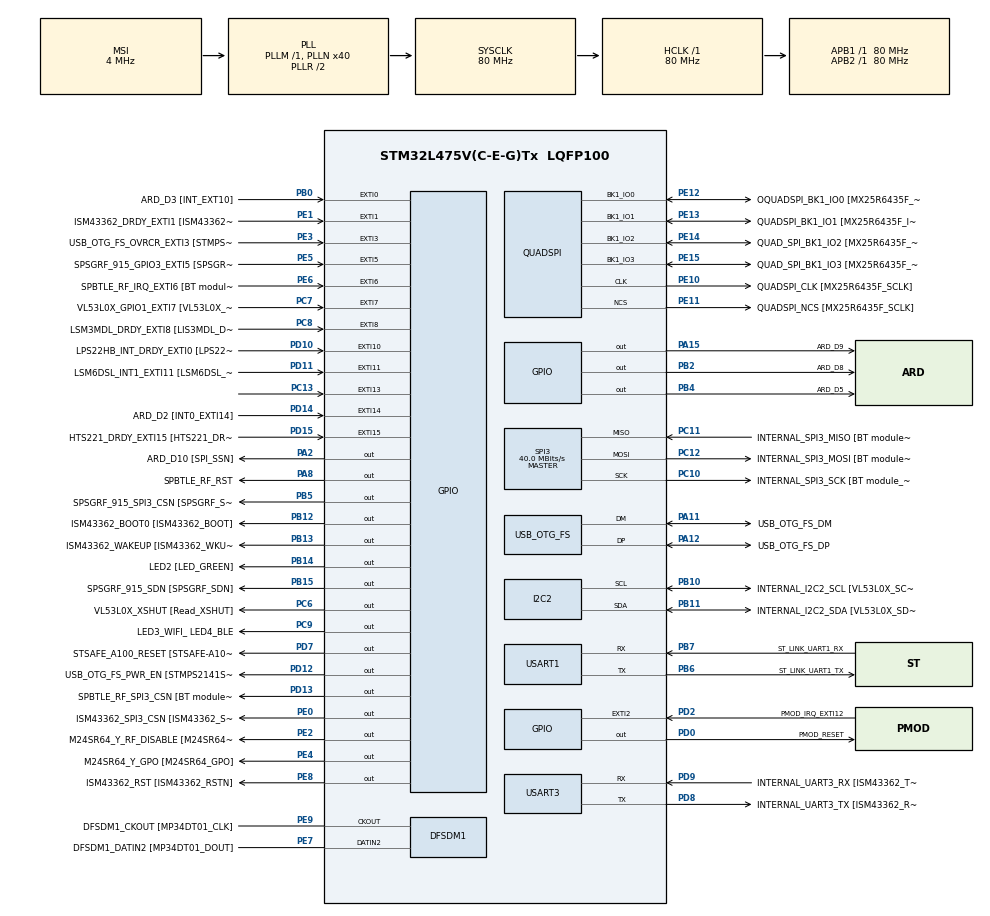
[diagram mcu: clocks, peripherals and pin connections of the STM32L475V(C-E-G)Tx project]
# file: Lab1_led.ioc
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FREERTOS.Tasks01=defaultTask,24,128,StartDefaultTask,Default,NULL,Dynamic,NULL,NULL
Mcu.Family=STM32L4
Mcu.Name=STM32L475V(C-E-G)Tx
Mcu.Package=LQFP100
NVIC.EXTI15_10_IRQn=true\:5\:0\:false\:false\:true\:true\:true\:true\:true
NVIC.EXTI9_5_IRQn=true\:5\:0\:false\:false\:true\:true\:true\:true\:true
NVIC.PriorityGroup=NVIC_PRIORITYGROUP_4
PA0.GPIO_Label=ARD_D1 [UART4_TX]
PA0.Signal=UART4_TX
PA1.GPIO_Label=ARD_D0 [UART4_RX]
PA1.Signal=UART4_RX
PA10.GPIO_Label=USB_OTG_FS_ID
PA10.Signal=USB_OTG_FS_ID
PA11.GPIO_Label=USB_OTG_FS_DM
PA11.Mode=Device_Only
PA11.Signal=USB_OTG_FS_DM
PA12.GPIO_Label=USB_OTG_FS_DP
PA12.Mode=Device_Only
PA12.Signal=USB_OTG_FS_DP
PA13\ (JTMS-SWDIO).GPIO_Label=SYS_JTMS_SWDIO
PA13\ (JTMS-SWDIO).Mode=Serial_Wire
PA13\ (JTMS-SWDIO).Signal=SYS_JTMS-SWDIO
PA14\ (JTCK-SWCLK).GPIO_Label=SYS_JTCK_SWCLK
PA14\ (JTCK-SWCLK).Mode=Serial_Wire
PA14\ (JTCK-SWCLK).Signal=SYS_JTCK-SWCLK
PA15\ (JTDI).GPIO_Label=ARD_D9
PA15\ (JTDI).Signal=GPIO_Output
PA2.GPIO_Label=ARD_D10 [SPI_SSN]
PA2.Signal=GPIO_Output
PA3.GPIO_Label=ARD_D4
PA3.Signal=S_TIM2_CH4
PA4.GPIO_Label=ARD_D7
PA4.Signal=ADCx_IN9
PA5.GPIO_Label=ARD_D13 [SPI1_SCK]
PA5.Signal=SPI1_SCK
PA6.GPIO_Label=ARD_D12 [SPI1_MISO]
PA6.Signal=SPI1_MISO
PA7.GPIO_Label=ARD_D11 [SPI1_MOSI]
PA7.Signal=SPI1_MOSI
PA8.GPIO_Label=SPBTLE_RF_RST
PA8.Signal=GPIO_Output
PA9.GPIO_Label=USB_OTG_FS_VBUS [STMPS2141STR_OUT]
PA9.Signal=USB_OTG_FS_VBUS
PB0.GPIO_Label=ARD_D3 [INT_EXT10]
PB0.Signal=GPXTI0
PB1.GPIO_Label=ARD_D6 [ADC1_IN6]
PB1.Signal=ADCx_IN16
PB10.GPIO_Label=INTERNAL_I2C2_SCL [VL53L0X_SCL]
PB10.GPIO_Pu=GPIO_PULLUP
PB10.Mode=I2C
PB10.Signal=I2C2_SCL
PB11.GPIO_Label=INTERNAL_I2C2_SDA [VL53L0X_SDA]
PB11.GPIO_Pu=GPIO_PULLUP
PB11.Mode=I2C
PB11.Signal=I2C2_SDA
PB12.GPIO_Label=ISM43362_BOOT0 [ISM43362_BOOT]
PB12.Signal=GPIO_Output
PB13.GPIO_Label=ISM43362_WAKEUP [ISM43362_WKUP]
PB13.Signal=GPIO_Output
PB14.GPIO_Label=LED2 [LED_GREEN]
PB14.Signal=GPIO_Output
PB15.GPIO_Label=SPSGRF_915_SDN [SPSGRF_SDN]
PB15.Signal=GPIO_Output
PB2.GPIO_Label=ARD_D8
PB2.Signal=GPIO_Output
PB3\ (JTDO-TRACESWO).GPIO_Label=SYS_JTD0_SWO
PB3\ (JTDO-TRACESWO).Signal=SYS_JTDO-SWO
PB4\ (NJTRST).GPIO_Label=ARD_D5
PB4\ (NJTRST).Signal=GPIO_Output
PB5.GPIO_Label=SPSGRF_915_SPI3_CSN [SPSGRF_SPI_CS]
PB5.PinState=GPIO_PIN_SET
PB5.Signal=GPIO_Output
PB6.GPIO_Label=ST_LINK_UART1_TX
PB6.Mode=Asynchronous
PB6.Signal=USART1_TX
PB7.GPIO_Label=ST_LINK_UART1_RX
PB7.Mode=Asynchronous
PB7.Signal=USART1_RX
PB8.GPIO_Label=ARD_D15 [I2C1_SCL]
PB8.Signal=I2C1_SCL
PB9.GPIO_Label=ARD_D14 [I2C1_SDA]
PB9.Signal=I2C1_SDA
PC0.GPIO_Label=ARD_A5 [ADC]
PC0.Signal=ADCx_IN1
PC1.GPIO_Label=ARD_A4 [ADC]
PC1.Signal=ADCx_IN2
PC10.GPIO_Label=INTERNAL_SPI3_SCK [BT module_SPI_SCLK] [ISM43362_SCK]
PC10.Mode=Full_Duplex_Master
PC10.Signal=SPI3_SCK
PC11.GPIO_Label=INTERNAL_SPI3_MISO [BT module_SPI_MISO] [ISM43362_MISO]
PC11.Mode=Full_Duplex_Master
PC11.Signal=SPI3_MISO
PC12.GPIO_Label=INTERNAL_SPI3_MOSI [BT module_SPI_MOSI] [ISM43362_MOSI]
PC12.Mode=Full_Duplex_Master
PC12.Signal=SPI3_MOSI
PC13.GPIO_ModeDefaultEXTI=GPIO_MODE_IT_FALLING
PC13.Signal=GPXTI13
PC14-OSC32_IN\ (PC14).Mode=LSE-External-Oscillator
PC14-OSC32_IN\ (PC14).Signal=RCC_OSC32_IN
PC15-OSC32_OUT\ (PC15).Mode=LSE-External-Oscillator
PC15-OSC32_OUT\ (PC15).Signal=RCC_OSC32_OUT
PC2.GPIO_Label=ARD_A3 [ADC]
PC2.Signal=ADCx_IN3
PC3.GPIO_Label=ARD_A2 [ADC]
PC3.Signal=ADCx_IN4
PC4.GPIO_Label=ARD_A1 [ADC]
PC4.Signal=ADCx_IN13
PC5.GPIO_Label=ARD_A0 [ADC]
PC5.Signal=ADCx_IN14
PC6.GPIO_Label=VL53L0X_XSHUT [Read_XSHUT]
PC6.Signal=GPIO_Output
PC7.GPIO_Label=VL53L0X_GPIO1_EXTI7 [VL53L0X_GPIO1]
PC7.Signal=GPXTI7
PC8.GPIO_Label=LSM3MDL_DRDY_EXTI8 [LIS3MDL_DRDY]
PC8.Signal=GPXTI8
PC9.GPIO_Label=LED3_WIFI_ LED4_BLE
PC9.Signal=GPIO_Output
PD0.GPIO_Label=PMOD_RESET
PD0.Signal=GPIO_Output
PD1.GPIO_Label=PMOD_SPI2_SCK
PD1.Signal=SPI2_SCK
PD10.GPIO_Label=LPS22HB_INT_DRDY_EXTI0 [LPS22HB_INT_DRDY] 
PD10.Signal=GPXTI10
PD11.GPIO_Label=LSM6DSL_INT1_EXTI11 [LSM6DSL_INT1]
PD11.Signal=GPXTI11
PD12.GPIO_Label=USB_OTG_FS_PWR_EN [STMPS2141STR_EN]
PD12.Signal=GPIO_Output
PD13.GPIO_Label=SPBTLE_RF_SPI3_CSN [BT module_SPI_CS]
PD13.PinState=GPIO_PIN_SET
PD13.Signal=GPIO_Output
PD14.GPIO_Label=ARD_D2 [INT0_EXTI14]
PD14.Signal=GPXTI14
PD15.GPIO_Label=HTS221_DRDY_EXTI15 [HTS221_DRDY]
PD15.Signal=GPXTI15
PD2.GPIO_Label=PMOD_IRQ_EXTI12
PD2.Signal=GPXTI2
PD3.GPIO_Label=PMOD_UART2_CTS
PD3.Signal=USART2_CTS
PD4.GPIO_Label=PMOD_UART2_RTS
PD4.Signal=USART2_RTS
PD5.GPIO_Label=PMOD_UART2_TX
PD5.Signal=USART2_TX
PD6.GPIO_Label=PMOD_UART2_RX
PD6.Signal=USART2_RX
PD7.GPIO_Label=STSAFE_A100_RESET [STSAFE-A100_RESET]
PD7.Signal=GPIO_Output
PD8.GPIO_Label=INTERNAL_UART3_TX [ISM43362_RX]
PD8.Mode=Asynchronous
PD8.Signal=USART3_TX
PD9.GPIO_Label=INTERNAL_UART3_RX [ISM43362_TX]
PD9.Mode=Asynchronous
PD9.Signal=USART3_RX
PE0.GPIO_Label=ISM43362_SPI3_CSN [ISM43362_SSN]
PE0.PinState=GPIO_PIN_SET
PE0.Signal=GPIO_Output
PE1.GPIO_Label=ISM43362_DRDY_EXTI1 [ISM43362_DATARDY]
PE1.Signal=GPXTI1
PE10.GPIO_Label=QUADSPI_CLK [MX25R6435F_SCLK]
PE10.Mode=Single Bank
PE10.Signal=QUADSPI_CLK
PE11.GPIO_Label=QUADSPI_NCS [MX25R6435F_SCLK]
PE11.Mode=Single Bank
PE11.Signal=QUADSPI_NCS
PE12.GPIO_Label=OQUADSPI_BK1_IO0 [MX25R6435F_IO0]
PE12.Mode=Single Bank
PE12.Signal=QUADSPI_BK1_IO0
PE13.GPIO_Label=QUADSPI_BK1_IO1 [MX25R6435F_IO1]
PE13.Mode=Single Bank
PE13.Signal=QUADSPI_BK1_IO1
PE14.GPIO_Label=QUAD_SPI_BK1_IO2 [MX25R6435F_IO2]
PE14.Mode=Single Bank
PE14.Signal=QUADSPI_BK1_IO2
PE15.GPIO_Label=QUAD_SPI_BK1_IO3 [MX25R6435F_IO3]
PE15.Mode=Single Bank
PE15.Signal=QUADSPI_BK1_IO3
PE2.GPIO_Label=M24SR64_Y_RF_DISABLE [M24SR64_RFDIS]
PE2.Signal=GPIO_Output
PE3.GPIO_Label=USB_OTG_FS_OVRCR_EXTI3 [STMPS2141STR_FAULT]
PE3.Signal=GPXTI3
PE4.GPIO_Label=M24SR64_Y_GPO [M24SR64_GPO]
PE4.Signal=GPIO_Output
PE5.GPIO_Label=SPSGRF_915_GPIO3_EXTI5 [SPSGRF_GPIO_3]
PE5.Signal=GPXTI5
PE6.GPIO_Label=SPBTLE_RF_IRQ_EXTI6 [BT module_SPI_IRQ]
PE6.Signal=GPXTI6
PE7.GPIO_Label=DFSDM1_DATIN2 [MP34DT01_DOUT]
PE7.Signal=S_DATAIN2DFSDM1
PE8.GPIO_Label=ISM43362_RST [ISM43362_RSTN]
PE8.Signal=GPIO_Output
PE9.GPIO_Label=DFSDM1_CKOUT [MP34DT01_CLK]
PE9.Signal=S_CKOUTDFSDM1
ProjectManager.HeapSize=0x200
ProjectManager.StackSize=0x400
ProjectManager.TargetToolchain=STM32CubeIDE
QUADSPI.ClockPrescaler=2
QUADSPI.FifoThreshold=4
QUADSPI.FlashSize=23
QUADSPI.SampleShifting=QSPI_SAMPLE_SHIFTING_HALFCYCLE
RCC.ADCFreq_Value=48000000
RCC.AHBFreq_Value=80000000
RCC.APB1Freq_Value=80000000
RCC.APB1TimFreq_Value=80000000
RCC.APB2Freq_Value=80000000
RCC.APB2TimFreq_Value=80000000
RCC.CortexFreq_Value=80000000
RCC.HCLKFreq_Value=80000000
RCC.HSE_VALUE=8000000
RCC.HSI_VALUE=16000000
RCC.MSI_VALUE=4000000
RCC.PLLN=40
RCC.PLLSAI1N=24
RCC.SYSCLKFreq_VALUE=80000000
RCC.SYSCLKSource=RCC_SYSCLKSOURCE_PLLCLK
RCC.USBFreq_Value=48000000
RCC.VCOOutputFreq_Value=160000000
SH.ADCx_IN1.0=ADC1_IN1
SH.ADCx_IN13.0=ADC1_IN13
SH.ADCx_IN14.0=ADC1_IN14
SH.ADCx_IN16.0=ADC1_IN16
SH.ADCx_IN2.0=ADC1_IN2
SH.ADCx_IN3.0=ADC1_IN3
SH.ADCx_IN4.0=ADC1_IN4
SH.ADCx_IN9.0=ADC1_IN9
SH.S_CKOUTDFSDM1.0=DFSDM1_CKOUT,CKOUT
SH.S_CKOUTDFSDM1.1=DFSDM1_CKOUT,PDM_SPI_Input_from_ch12_and_Internal_Clock
SH.S_DATAIN2DFSDM1.0=DFSDM1_DATIN2,PDM_SPI_Input_from_ch12_and_Internal_Clock
SH.S_TIM2_CH4.0=TIM2_CH4
SPI3.CalculateBaudRate=40.0 MBits/s
SPI3.Direction=SPI_DIRECTION_2LINES
SPI3.Mode=SPI_MODE_MASTER
SPI3.VirtualType=VM_MASTER
USART1.VirtualMode-Asynchronous=VM_ASYNC
USART3.VirtualMode-Asynchronous=VM_ASYNC
USB_OTG_FS.VirtualMode=Device_Only
VP_FREERTOS_VS_CMSIS_V2.Mode=CMSIS_V2
board=B-L475E-IOT01A1

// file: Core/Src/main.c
/* USER CODE BEGIN Header */
/**
  ******************************************************************************
  * @file           : main.c
  * @brief          : Main program body
  ******************************************************************************
  * @attention
  *
  * Copyright (c) 2026 STMicroelectronics.
  * All rights reserved.
  *
  * This software is licensed under terms that can be found in the LICENSE file
  * in the root directory of this software component.
  * If no LICENSE file comes with this software, it is provided AS-IS.
  *
  ******************************************************************************
  */
/* USER CODE END Header */
#include "main.h"
#include "cmsis_os.h"

/* USER CODE BEGIN PTD */
typedef enum {
  BUTTON_SHORT_PRESS,
  BUTTON_LONG_PRESS
} ButtonEvent;

/* USER CODE END PTD */

DFSDM_Channel_HandleTypeDef hdfsdm1_channel1;

I2C_HandleTypeDef hi2c2;

QSPI_HandleTypeDef hqspi;

SPI_HandleTypeDef hspi3;

UART_HandleTypeDef huart1;
UART_HandleTypeDef huart3;

PCD_HandleTypeDef hpcd_USB_OTG_FS;

/* Definitions for defaultTask */
osThreadId_t defaultTaskHandle;
const osThreadAttr_t defaultTask_attributes = {
  .name = "defaultTask",
  .stack_size = 128 * 4,
  .priority = (osPriority_t) osPriorityNormal,
};
/* USER CODE BEGIN PV */
static osMessageQueueId_t buttonQueueHandle;
/* Inspect in Debug if presses arrive faster than LED procedures finish. */
static volatile uint32_t buttonQueueOverflowCount;
static osSemaphoreId_t timerSemaphoreHandle;
static osMutexId_t ledMutexHandle;
static const osThreadAttr_t task2_attributes = {
  .name = "Task_2",
  .stack_size = 128 * 4,
  .priority = osPriorityNormal,
};
static const osThreadAttr_t buttonTask_attributes = {
  .name = "ButtonDetect",
  .stack_size = 128 * 4,
  .priority = osPriorityNormal,
};

/* USER CODE END PV */

void SystemClock_Config(void);
static void MX_GPIO_Init(void);
static void MX_DFSDM1_Init(void);
static void MX_I2C2_Init(void);
static void MX_QUADSPI_Init(void);
static void MX_SPI3_Init(void);
static void MX_USART1_UART_Init(void);
static void MX_USART3_UART_Init(void);
static void MX_USB_OTG_FS_PCD_Init(void);
void StartDefaultTask(void *argument);

/* USER CODE BEGIN PFP */
static void StartTask2(void *argument);
static void StartPeriodicTimer(void);
static void StartButtonTask(void *argument);

/* USER CODE END PFP */

int main(void)
{

  /* MCU Configuration--------------------------------------------------------*/

  /* Reset of all peripherals, Initializes the Flash interface and the Systick. */
  HAL_Init();

  /* Configure the system clock */
  SystemClock_Config();

  /* Initialize all configured peripherals */
  MX_GPIO_Init();
  MX_DFSDM1_Init();
  MX_I2C2_Init();
  MX_QUADSPI_Init();
  MX_SPI3_Init();
  MX_USART1_UART_Init();
  MX_USART3_UART_Init();
  MX_USB_OTG_FS_PCD_Init();

  /* Init scheduler */
  osKernelInitialize();

  /* USER CODE BEGIN RTOS_MUTEX */
  ledMutexHandle = osMutexNew(NULL);
  if (ledMutexHandle == NULL)
  {
    Error_Handler();
  }
  /* USER CODE END RTOS_MUTEX */

  /* USER CODE BEGIN RTOS_SEMAPHORES */
  timerSemaphoreHandle = osSemaphoreNew(1, 0, NULL);
  if (timerSemaphoreHandle == NULL)
  {
    Error_Handler();
  }
  /* USER CODE END RTOS_SEMAPHORES */

  /* USER CODE BEGIN RTOS_QUEUES */
  buttonQueueHandle = osMessageQueueNew(8, sizeof(ButtonEvent), NULL);
  if (buttonQueueHandle == NULL)
  {
    Error_Handler();
  }
  /* USER CODE END RTOS_QUEUES */

  /* Create the thread(s) */
  /* creation of defaultTask */
  defaultTaskHandle = osThreadNew(StartDefaultTask, NULL, &defaultTask_attributes);

  /* USER CODE BEGIN RTOS_THREADS */
  if ((defaultTaskHandle == NULL) ||
      (osThreadNew(StartTask2, NULL, &task2_attributes) == NULL) ||
      (osThreadNew(StartButtonTask, NULL, &buttonTask_attributes) == NULL))
  {
    Error_Handler();
  }
  /* USER CODE END RTOS_THREADS */

  /* Start scheduler */
  osKernelStart();

  /* We should never get here as control is now taken by the scheduler */

  /* Infinite loop */
  while (1)
  {

  }
}

void SystemClock_Config(void)
{
  RCC_OscInitTypeDef RCC_OscInitStruct = {0};
  RCC_ClkInitTypeDef RCC_ClkInitStruct = {0};

  /** Configure the main internal regulator output voltage
  */
  if (HAL_PWREx_ControlVoltageScaling(PWR_REGULATOR_VOLTAGE_SCALE1) != HAL_OK)
  {
    Error_Handler();
  }

  /** Configure LSE Drive Capability
  */
  HAL_PWR_EnableBkUpAccess();
  __HAL_RCC_LSEDRIVE_CONFIG(RCC_LSEDRIVE_LOW);

  /** Initializes the RCC Oscillators according to the specified parameters
  * in the RCC_OscInitTypeDef structure.
  */
  RCC_OscInitStruct.OscillatorType = RCC_OSCILLATORTYPE_LSE|RCC_OSCILLATORTYPE_MSI;
  RCC_OscInitStruct.LSEState = RCC_LSE_ON;
  RCC_OscInitStruct.MSIState = RCC_MSI_ON;
  RCC_OscInitStruct.MSICalibrationValue = 0;
  RCC_OscInitStruct.MSIClockRange = RCC_MSIRANGE_6;
  RCC_OscInitStruct.PLL.PLLState = RCC_PLL_ON;
  RCC_OscInitStruct.PLL.PLLSource = RCC_PLLSOURCE_MSI;
  RCC_OscInitStruct.PLL.PLLM = 1;
  RCC_OscInitStruct.PLL.PLLN = 40;
  RCC_OscInitStruct.PLL.PLLP = RCC_PLLP_DIV7;
  RCC_OscInitStruct.PLL.PLLQ = RCC_PLLQ_DIV2;
  RCC_OscInitStruct.PLL.PLLR = RCC_PLLR_DIV2;
  if (HAL_RCC_OscConfig(&RCC_OscInitStruct) != HAL_OK)
  {
    Error_Handler();
  }

  /** Initializes the CPU, AHB and APB buses clocks
  */
  RCC_ClkInitStruct.ClockType = RCC_CLOCKTYPE_HCLK|RCC_CLOCKTYPE_SYSCLK
                              |RCC_CLOCKTYPE_PCLK1|RCC_CLOCKTYPE_PCLK2;
  RCC_ClkInitStruct.SYSCLKSource = RCC_SYSCLKSOURCE_PLLCLK;
  RCC_ClkInitStruct.AHBCLKDivider = RCC_SYSCLK_DIV1;
  RCC_ClkInitStruct.APB1CLKDivider = RCC_HCLK_DIV1;
  RCC_ClkInitStruct.APB2CLKDivider = RCC_HCLK_DIV1;

  if (HAL_RCC_ClockConfig(&RCC_ClkInitStruct, FLASH_LATENCY_4) != HAL_OK)
  {
    Error_Handler();
  }

  /** Enable MSI Auto calibration
  */
  HAL_RCCEx_EnableMSIPLLMode();
}

static void MX_DFSDM1_Init(void)
{

  hdfsdm1_channel1.Instance = DFSDM1_Channel1;
  hdfsdm1_channel1.Init.OutputClock.Activation = ENABLE;
  hdfsdm1_channel1.Init.OutputClock.Selection = DFSDM_CHANNEL_OUTPUT_CLOCK_SYSTEM;
  hdfsdm1_channel1.Init.OutputClock.Divider = 2;
  hdfsdm1_channel1.Init.Input.Multiplexer = DFSDM_CHANNEL_EXTERNAL_INPUTS;
  hdfsdm1_channel1.Init.Input.DataPacking = DFSDM_CHANNEL_STANDARD_MODE;
  hdfsdm1_channel1.Init.Input.Pins = DFSDM_CHANNEL_FOLLOWING_CHANNEL_PINS;
  hdfsdm1_channel1.Init.SerialInterface.Type = DFSDM_CHANNEL_SPI_RISING;
  hdfsdm1_channel1.Init.SerialInterface.SpiClock = DFSDM_CHANNEL_SPI_CLOCK_INTERNAL;
  hdfsdm1_channel1.Init.Awd.FilterOrder = DFSDM_CHANNEL_FASTSINC_ORDER;
  hdfsdm1_channel1.Init.Awd.Oversampling = 1;
  hdfsdm1_channel1.Init.Offset = 0;
  hdfsdm1_channel1.Init.RightBitShift = 0x00;
  if (HAL_DFSDM_ChannelInit(&hdfsdm1_channel1) != HAL_OK)
  {
    Error_Handler();
  }

}

static void MX_I2C2_Init(void)
{

  hi2c2.Instance = I2C2;
  hi2c2.Init.Timing = 0x00000E14;
  hi2c2.Init.OwnAddress1 = 0;
  hi2c2.Init.AddressingMode = I2C_ADDRESSINGMODE_7BIT;
  hi2c2.Init.DualAddressMode = I2C_DUALADDRESS_DISABLE;
  hi2c2.Init.OwnAddress2 = 0;
  hi2c2.Init.OwnAddress2Masks = I2C_OA2_NOMASK;
  hi2c2.Init.GeneralCallMode = I2C_GENERALCALL_DISABLE;
  hi2c2.Init.NoStretchMode = I2C_NOSTRETCH_DISABLE;
  if (HAL_I2C_Init(&hi2c2) != HAL_OK)
  {
    Error_Handler();
  }

  /** Configure Analogue filter
  */
  if (HAL_I2CEx_ConfigAnalogFilter(&hi2c2, I2C_ANALOGFILTER_ENABLE) != HAL_OK)
  {
    Error_Handler();
  }

  /** Configure Digital filter
  */
  if (HAL_I2CEx_ConfigDigitalFilter(&hi2c2, 0) != HAL_OK)
  {
    Error_Handler();
  }

}

static void MX_QUADSPI_Init(void)
{

  /* QUADSPI parameter configuration*/
  hqspi.Instance = QUADSPI;
  hqspi.Init.ClockPrescaler = 2;
  hqspi.Init.FifoThreshold = 4;
  hqspi.Init.SampleShifting = QSPI_SAMPLE_SHIFTING_HALFCYCLE;
  hqspi.Init.FlashSize = 23;
  hqspi.Init.ChipSelectHighTime = QSPI_CS_HIGH_TIME_1_CYCLE;
  hqspi.Init.ClockMode = QSPI_CLOCK_MODE_0;
  if (HAL_QSPI_Init(&hqspi) != HAL_OK)
  {
    Error_Handler();
  }

}

static void MX_SPI3_Init(void)
{

  /* SPI3 parameter configuration*/
  hspi3.Instance = SPI3;
  hspi3.Init.Mode = SPI_MODE_MASTER;
  hspi3.Init.Direction = SPI_DIRECTION_2LINES;
  hspi3.Init.DataSize = SPI_DATASIZE_4BIT;
  hspi3.Init.CLKPolarity = SPI_POLARITY_LOW;
  hspi3.Init.CLKPhase = SPI_PHASE_1EDGE;
  hspi3.Init.NSS = SPI_NSS_SOFT;
  hspi3.Init.BaudRatePrescaler = SPI_BAUDRATEPRESCALER_2;
  hspi3.Init.FirstBit = SPI_FIRSTBIT_MSB;
  hspi3.Init.TIMode = SPI_TIMODE_DISABLE;
  hspi3.Init.CRCCalculation = SPI_CRCCALCULATION_DISABLE;
  hspi3.Init.CRCPolynomial = 7;
  hspi3.Init.CRCLength = SPI_CRC_LENGTH_DATASIZE;
  hspi3.Init.NSSPMode = SPI_NSS_PULSE_ENABLE;
  if (HAL_SPI_Init(&hspi3) != HAL_OK)
  {
    Error_Handler();
  }

}

static void MX_USART1_UART_Init(void)
{

  huart1.Instance = USART1;
  huart1.Init.BaudRate = 115200;
  huart1.Init.WordLength = UART_WORDLENGTH_8B;
  huart1.Init.StopBits = UART_STOPBITS_1;
  huart1.Init.Parity = UART_PARITY_NONE;
  huart1.Init.Mode = UART_MODE_TX_RX;
  huart1.Init.HwFlowCtl = UART_HWCONTROL_NONE;
  huart1.Init.OverSampling = UART_OVERSAMPLING_16;
  huart1.Init.OneBitSampling = UART_ONE_BIT_SAMPLE_DISABLE;
  huart1.AdvancedInit.AdvFeatureInit = UART_ADVFEATURE_NO_INIT;
  if (HAL_UART_Init(&huart1) != HAL_OK)
  {
    Error_Handler();
  }

}

static void MX_USART3_UART_Init(void)
{

  huart3.Instance = USART3;
  huart3.Init.BaudRate = 115200;
  huart3.Init.WordLength = UART_WORDLENGTH_8B;
  huart3.Init.StopBits = UART_STOPBITS_1;
  huart3.Init.Parity = UART_PARITY_NONE;
  huart3.Init.Mode = UART_MODE_TX_RX;
  huart3.Init.HwFlowCtl = UART_HWCONTROL_NONE;
  huart3.Init.OverSampling = UART_OVERSAMPLING_16;
  huart3.Init.OneBitSampling = UART_ONE_BIT_SAMPLE_DISABLE;
  huart3.AdvancedInit.AdvFeatureInit = UART_ADVFEATURE_NO_INIT;
  if (HAL_UART_Init(&huart3) != HAL_OK)
  {
    Error_Handler();
  }

}

static void MX_USB_OTG_FS_PCD_Init(void)
{

  hpcd_USB_OTG_FS.Instance = USB_OTG_FS;
  hpcd_USB_OTG_FS.Init.dev_endpoints = 6;
  hpcd_USB_OTG_FS.Init.speed = PCD_SPEED_FULL;
  hpcd_USB_OTG_FS.Init.phy_itface = PCD_PHY_EMBEDDED;
  hpcd_USB_OTG_FS.Init.Sof_enable = DISABLE;
  hpcd_USB_OTG_FS.Init.low_power_enable = DISABLE;
  hpcd_USB_OTG_FS.Init.lpm_enable = DISABLE;
  hpcd_USB_OTG_FS.Init.battery_charging_enable = DISABLE;
  hpcd_USB_OTG_FS.Init.use_dedicated_ep1 = DISABLE;
  hpcd_USB_OTG_FS.Init.vbus_sensing_enable = DISABLE;
  if (HAL_PCD_Init(&hpcd_USB_OTG_FS) != HAL_OK)
  {
    Error_Handler();
  }

}

static void MX_GPIO_Init(void)
{
  GPIO_InitTypeDef GPIO_InitStruct = {0};

  /* GPIO Ports Clock Enable */
  __HAL_RCC_GPIOE_CLK_ENABLE();
  __HAL_RCC_GPIOC_CLK_ENABLE();
  __HAL_RCC_GPIOA_CLK_ENABLE();
  __HAL_RCC_GPIOB_CLK_ENABLE();
  __HAL_RCC_GPIOD_CLK_ENABLE();

  /*Configure GPIO pin Output Level */
  HAL_GPIO_WritePin(GPIOE, M24SR64_Y_RF_DISABLE_Pin|M24SR64_Y_GPO_Pin|ISM43362_RST_Pin, GPIO_PIN_RESET);

  /*Configure GPIO pin Output Level */
  HAL_GPIO_WritePin(GPIOA, ARD_D10_Pin|SPBTLE_RF_RST_Pin|ARD_D9_Pin, GPIO_PIN_RESET);

  /*Configure GPIO pin Output Level */
  HAL_GPIO_WritePin(GPIOB, ARD_D8_Pin|ISM43362_BOOT0_Pin|ISM43362_WAKEUP_Pin|LED2_Pin
                          |SPSGRF_915_SDN_Pin|ARD_D5_Pin, GPIO_PIN_RESET);

  /*Configure GPIO pin Output Level */
  HAL_GPIO_WritePin(GPIOD, USB_OTG_FS_PWR_EN_Pin|PMOD_RESET_Pin|STSAFE_A100_RESET_Pin, GPIO_PIN_RESET);

  /*Configure GPIO pin Output Level */
  HAL_GPIO_WritePin(SPBTLE_RF_SPI3_CSN_GPIO_Port, SPBTLE_RF_SPI3_CSN_Pin, GPIO_PIN_SET);

  /*Configure GPIO pin Output Level */
  HAL_GPIO_WritePin(GPIOC, VL53L0X_XSHUT_Pin|LED3_WIFI__LED4_BLE_Pin, GPIO_PIN_RESET);

  /*Configure GPIO pin Output Level */
  HAL_GPIO_WritePin(SPSGRF_915_SPI3_CSN_GPIO_Port, SPSGRF_915_SPI3_CSN_Pin, GPIO_PIN_SET);

  /*Configure GPIO pin Output Level */
  HAL_GPIO_WritePin(ISM43362_SPI3_CSN_GPIO_Port, ISM43362_SPI3_CSN_Pin, GPIO_PIN_SET);

  /*Configure GPIO pins : M24SR64_Y_RF_DISABLE_Pin M24SR64_Y_GPO_Pin ISM43362_RST_Pin ISM43362_SPI3_CSN_Pin */
  GPIO_InitStruct.Pin = M24SR64_Y_RF_DISABLE_Pin|M24SR64_Y_GPO_Pin|ISM43362_RST_Pin|ISM43362_SPI3_CSN_Pin;
  GPIO_InitStruct.Mode = GPIO_MODE_OUTPUT_PP;
  GPIO_InitStruct.Pull = GPIO_NOPULL;
  GPIO_InitStruct.Speed = GPIO_SPEED_FREQ_LOW;
  HAL_GPIO_Init(GPIOE, &GPIO_InitStruct);

  /*Configure GPIO pins : USB_OTG_FS_OVRCR_EXTI3_Pin SPSGRF_915_GPIO3_EXTI5_Pin SPBTLE_RF_IRQ_EXTI6_Pin ISM43362_DRDY_EXTI1_Pin */
  GPIO_InitStruct.Pin = USB_OTG_FS_OVRCR_EXTI3_Pin|SPSGRF_915_GPIO3_EXTI5_Pin|SPBTLE_RF_IRQ_EXTI6_Pin|ISM43362_DRDY_EXTI1_Pin;
  GPIO_InitStruct.Mode = GPIO_MODE_IT_RISING;
  GPIO_InitStruct.Pull = GPIO_NOPULL;
  HAL_GPIO_Init(GPIOE, &GPIO_InitStruct);

  /*Configure GPIO pin : PC13 */
  GPIO_InitStruct.Pin = GPIO_PIN_13;
  GPIO_InitStruct.Mode = GPIO_MODE_IT_FALLING;
  GPIO_InitStruct.Pull = GPIO_NOPULL;
  HAL_GPIO_Init(GPIOC, &GPIO_InitStruct);

  /*Configure GPIO pins : ARD_A5_Pin ARD_A4_Pin ARD_A3_Pin ARD_A2_Pin
                           ARD_A1_Pin ARD_A0_Pin */
  GPIO_InitStruct.Pin = ARD_A5_Pin|ARD_A4_Pin|ARD_A3_Pin|ARD_A2_Pin
                          |ARD_A1_Pin|ARD_A0_Pin;
  GPIO_InitStruct.Mode = GPIO_MODE_ANALOG_ADC_CONTROL;
  GPIO_InitStruct.Pull = GPIO_NOPULL;
  HAL_GPIO_Init(GPIOC, &GPIO_InitStruct);

  /*Configure GPIO pins : ARD_D1_Pin ARD_D0_Pin */
  GPIO_InitStruct.Pin = ARD_D1_Pin|ARD_D0_Pin;
  GPIO_InitStruct.Mode = GPIO_MODE_AF_PP;
  GPIO_InitStruct.Pull = GPIO_NOPULL;
  GPIO_InitStruct.Speed = GPIO_SPEED_FREQ_VERY_HIGH;
  GPIO_InitStruct.Alternate = GPIO_AF8_UART4;
  HAL_GPIO_Init(GPIOA, &GPIO_InitStruct);

  /*Configure GPIO pins : ARD_D10_Pin SPBTLE_RF_RST_Pin ARD_D9_Pin */
  GPIO_InitStruct.Pin = ARD_D10_Pin|SPBTLE_RF_RST_Pin|ARD_D9_Pin;
  GPIO_InitStruct.Mode = GPIO_MODE_OUTPUT_PP;
  GPIO_InitStruct.Pull = GPIO_NOPULL;
  GPIO_InitStruct.Speed = GPIO_SPEED_FREQ_LOW;
  HAL_GPIO_Init(GPIOA, &GPIO_InitStruct);

  /*Configure GPIO pin : ARD_D4_Pin */
  GPIO_InitStruct.Pin = ARD_D4_Pin;
  GPIO_InitStruct.Mode = GPIO_MODE_AF_PP;
  GPIO_InitStruct.Pull = GPIO_NOPULL;
  GPIO_InitStruct.Speed = GPIO_SPEED_FREQ_LOW;
  GPIO_InitStruct.Alternate = GPIO_AF1_TIM2;
  HAL_GPIO_Init(ARD_D4_GPIO_Port, &GPIO_InitStruct);

  /*Configure GPIO pin : ARD_D7_Pin */
  GPIO_InitStruct.Pin = ARD_D7_Pin;
  GPIO_InitStruct.Mode = GPIO_MODE_ANALOG_ADC_CONTROL;
  GPIO_InitStruct.Pull = GPIO_NOPULL;
  HAL_GPIO_Init(ARD_D7_GPIO_Port, &GPIO_InitStruct);

  /*Configure GPIO pins : ARD_D13_Pin ARD_D12_Pin ARD_D11_Pin */
  GPIO_InitStruct.Pin = ARD_D13_Pin|ARD_D12_Pin|ARD_D11_Pin;
  GPIO_InitStruct.Mode = GPIO_MODE_AF_PP;
  GPIO_InitStruct.Pull = GPIO_NOPULL;
  GPIO_InitStruct.Speed = GPIO_SPEED_FREQ_VERY_HIGH;
  GPIO_InitStruct.Alternate = GPIO_AF5_SPI1;
  HAL_GPIO_Init(GPIOA, &GPIO_InitStruct);

  /*Configure GPIO pin : ARD_D3_Pin */
  GPIO_InitStruct.Pin = ARD_D3_Pin;
  GPIO_InitStruct.Mode = GPIO_MODE_IT_RISING;
  GPIO_InitStruct.Pull = GPIO_NOPULL;
  HAL_GPIO_Init(ARD_D3_GPIO_Port, &GPIO_InitStruct);

  /*Configure GPIO pin : ARD_D6_Pin */
  GPIO_InitStruct.Pin = ARD_D6_Pin;
  GPIO_InitStruct.Mode = GPIO_MODE_ANALOG_ADC_CONTROL;
  GPIO_InitStruct.Pull = GPIO_NOPULL;
  HAL_GPIO_Init(ARD_D6_GPIO_Port, &GPIO_InitStruct);

  /*Configure GPIO pins : ARD_D8_Pin ISM43362_BOOT0_Pin ISM43362_WAKEUP_Pin LED2_Pin
                           SPSGRF_915_SDN_Pin ARD_D5_Pin SPSGRF_915_SPI3_CSN_Pin */
  GPIO_InitStruct.Pin = ARD_D8_Pin|ISM43362_BOOT0_Pin|ISM43362_WAKEUP_Pin|LED2_Pin
                          |SPSGRF_915_SDN_Pin|ARD_D5_Pin|SPSGRF_915_SPI3_CSN_Pin;
  GPIO_InitStruct.Mode = GPIO_MODE_OUTPUT_PP;
  GPIO_InitStruct.Pull = GPIO_NOPULL;
  GPIO_InitStruct.Speed = GPIO_SPEED_FREQ_LOW;
  HAL_GPIO_Init(GPIOB, &GPIO_InitStruct);

  /*Configure GPIO pins : LPS22HB_INT_DRDY_EXTI0_Pin LSM6DSL_INT1_EXTI11_Pin ARD_D2_Pin HTS221_DRDY_EXTI15_Pin
                           PMOD_IRQ_EXTI12_Pin */
  GPIO_InitStruct.Pin = LPS22HB_INT_DRDY_EXTI0_Pin|LSM6DSL_INT1_EXTI11_Pin|ARD_D2_Pin|HTS221_DRDY_EXTI15_Pin
                          |PMOD_IRQ_EXTI12_Pin;
  GPIO_InitStruct.Mode = GPIO_MODE_IT_RISING;
  GPIO_InitStruct.Pull = GPIO_NOPULL;
  HAL_GPIO_Init(GPIOD, &GPIO_InitStruct);

  /*Configure GPIO pins : USB_OTG_FS_PWR_EN_Pin SPBTLE_RF_SPI3_CSN_Pin PMOD_RESET_Pin STSAFE_A100_RESET_Pin */
  GPIO_InitStruct.Pin = USB_OTG_FS_PWR_EN_Pin|SPBTLE_RF_SPI3_CSN_Pin|PMOD_RESET_Pin|STSAFE_A100_RESET_Pin;
  GPIO_InitStruct.Mode = GPIO_MODE_OUTPUT_PP;
  GPIO_InitStruct.Pull = GPIO_NOPULL;
  GPIO_InitStruct.Speed = GPIO_SPEED_FREQ_LOW;
  HAL_GPIO_Init(GPIOD, &GPIO_InitStruct);

  /*Configure GPIO pins : VL53L0X_XSHUT_Pin LED3_WIFI__LED4_BLE_Pin */
  GPIO_InitStruct.Pin = VL53L0X_XSHUT_Pin|LED3_WIFI__LED4_BLE_Pin;
  GPIO_InitStruct.Mode = GPIO_MODE_OUTPUT_PP;
  GPIO_InitStruct.Pull = GPIO_NOPULL;
  GPIO_InitStruct.Speed = GPIO_SPEED_FREQ_LOW;
  HAL_GPIO_Init(GPIOC, &GPIO_InitStruct);

  /*Configure GPIO pins : VL53L0X_GPIO1_EXTI7_Pin LSM3MDL_DRDY_EXTI8_Pin */
  GPIO_InitStruct.Pin = VL53L0X_GPIO1_EXTI7_Pin|LSM3MDL_DRDY_EXTI8_Pin;
  GPIO_InitStruct.Mode = GPIO_MODE_IT_RISING;
  GPIO_InitStruct.Pull = GPIO_NOPULL;
  HAL_GPIO_Init(GPIOC, &GPIO_InitStruct);

  /*Configure GPIO pin : PMOD_SPI2_SCK_Pin */
  GPIO_InitStruct.Pin = PMOD_SPI2_SCK_Pin;
  GPIO_InitStruct.Mode = GPIO_MODE_AF_PP;
  GPIO_InitStruct.Pull = GPIO_NOPULL;
  GPIO_InitStruct.Speed = GPIO_SPEED_FREQ_VERY_HIGH;
  GPIO_InitStruct.Alternate = GPIO_AF5_SPI2;
  HAL_GPIO_Init(PMOD_SPI2_SCK_GPIO_Port, &GPIO_InitStruct);

  /*Configure GPIO pins : PMOD_UART2_CTS_Pin PMOD_UART2_RTS_Pin PMOD_UART2_TX_Pin PMOD_UART2_RX_Pin */
  GPIO_InitStruct.Pin = PMOD_UART2_CTS_Pin|PMOD_UART2_RTS_Pin|PMOD_UART2_TX_Pin|PMOD_UART2_RX_Pin;
  GPIO_InitStruct.Mode = GPIO_MODE_AF_PP;
  GPIO_InitStruct.Pull = GPIO_NOPULL;
  GPIO_InitStruct.Speed = GPIO_SPEED_FREQ_VERY_HIGH;
  GPIO_InitStruct.Alternate = GPIO_AF7_USART2;
  HAL_GPIO_Init(GPIOD, &GPIO_InitStruct);

  /*Configure GPIO pins : ARD_D15_Pin ARD_D14_Pin */
  GPIO_InitStruct.Pin = ARD_D15_Pin|ARD_D14_Pin;
  GPIO_InitStruct.Mode = GPIO_MODE_AF_OD;
  GPIO_InitStruct.Pull = GPIO_NOPULL;
  GPIO_InitStruct.Speed = GPIO_SPEED_FREQ_VERY_HIGH;
  GPIO_InitStruct.Alternate = GPIO_AF4_I2C1;
  HAL_GPIO_Init(GPIOB, &GPIO_InitStruct);

  /* EXTI interrupt init*/
  HAL_NVIC_SetPriority(EXTI9_5_IRQn, 5, 0);
  HAL_NVIC_EnableIRQ(EXTI9_5_IRQn);

  HAL_NVIC_SetPriority(EXTI15_10_IRQn, 5, 0);
  HAL_NVIC_EnableIRQ(EXTI15_10_IRQn);

}

/* USER CODE BEGIN 4 */
static void StartPeriodicTimer(void)
{
  /* Current clock tree: APB1 prescaler = 1, TIM6 clock = 80 MHz.
     80 MHz / 8000 / 100000 would exceed a 16-bit ARR, so use:
     80 MHz / 40000 / 20000 = 0.1 Hz (one update every 10 seconds). */
  __HAL_RCC_TIM6_CLK_ENABLE();
  __HAL_RCC_TIM6_FORCE_RESET();
  __HAL_RCC_TIM6_RELEASE_RESET();
  TIM6->PSC = 40000U - 1U;
  TIM6->ARR = 20000U - 1U;
  TIM6->EGR = TIM_EGR_UG;
  TIM6->SR = 0U; /* Clear the update caused by loading the prescaler. */
  HAL_NVIC_SetPriority(TIM6_DAC_IRQn, 5, 0);
  HAL_NVIC_ClearPendingIRQ(TIM6_DAC_IRQn);
  HAL_NVIC_EnableIRQ(TIM6_DAC_IRQn);
  TIM6->DIER = TIM_DIER_UIE;
  TIM6->CR1 = TIM_CR1_CEN;
}

void Lab1_TimerElapsedFromISR(void)
{
  /* TIM6 starts in Task_2, after the kernel and semaphore are ready. */
  (void)osSemaphoreRelease(timerSemaphoreHandle);
}

static void StartTask2(void *argument)
{
  (void)argument;
  StartPeriodicTimer();
  for (;;)
  {
    if (osSemaphoreAcquire(timerSemaphoreHandle, osWaitForever) == osOK)
    {
      if (osMutexAcquire(ledMutexHandle, osWaitForever) != osOK)
      {
        Error_Handler();
      }
      /* Twenty cycles: 50 ms on + 50 ms off = approximately 2 s. */
      for (uint32_t cycle = 0; cycle < 20U; cycle++)
      {
        HAL_GPIO_WritePin(LED2_GPIO_Port, LED2_Pin, GPIO_PIN_SET);
        osDelay(50);
        HAL_GPIO_WritePin(LED2_GPIO_Port, LED2_Pin, GPIO_PIN_RESET);
        osDelay(50);
      }
      (void)osMutexRelease(ledMutexHandle);
    }
  }
}

static void SendButtonEvent(ButtonEvent event)
{
  /* Never block button sampling. Drop the newest event if all 8 slots are full. */
  if (osMessageQueuePut(buttonQueueHandle, &event, 0, 0) != osOK)
  {
    buttonQueueOverflowCount++;
  }
}

static void StartButtonTask(void *argument)
{
  (void)argument;
  const uint32_t tickHz = osKernelGetTickFreq();
  const uint32_t sampleTicks = (tickHz + 99U) / 100U; /* 10 ms */
  const uint32_t debounceTicks = (tickHz * 30U + 999U) / 1000U;
  GPIO_PinState stable = GPIO_PIN_SET; /* USER button is active low. */
  GPIO_PinState candidate = GPIO_PIN_SET;
  uint32_t candidateSince = osKernelGetTickCount();
  uint32_t pressedSince = 0;
  uint32_t nextSample = candidateSince;
  uint8_t longSent = 0;

  for (;;)
  {
    uint32_t now = osKernelGetTickCount();
    GPIO_PinState raw = HAL_GPIO_ReadPin(GPIOC, GPIO_PIN_13);
    if (raw != candidate)
    {
      candidate = raw;
      candidateSince = now;
    }
    if ((candidate != stable) &&
        ((uint32_t)(now - candidateSince) >= debounceTicks))
    {
      stable = candidate;
      if (stable == GPIO_PIN_RESET)
      {
        pressedSince = candidateSince;
        longSent = 0;
      }
      else if (longSent == 0U)
      {
        /* Use the start of the stable release, not its debounce delay. */
        SendButtonEvent((uint32_t)(candidateSince - pressedSince) > tickHz
                        ? BUTTON_LONG_PRESS : BUTTON_SHORT_PRESS);
      }
    }
    if ((stable == GPIO_PIN_RESET) && (candidate == GPIO_PIN_RESET) &&
        (longSent == 0U) && ((uint32_t)(now - pressedSince) > tickHz))
    {
      SendButtonEvent(BUTTON_LONG_PRESS);
      longSent = 1;
    }
    nextSample += sampleTicks;
    (void)osDelayUntil(nextSample);
  }
}

/* USER CODE END 4 */

void StartDefaultTask(void *argument)
{
  /* USER CODE BEGIN 5 */
  ButtonEvent event;
  /* Infinite loop */
  for(;;)
  {
    if (osMessageQueueGet(buttonQueueHandle, &event, NULL, osWaitForever) == osOK)
    {
      if (osMutexAcquire(ledMutexHandle, osWaitForever) != osOK)
      {
        Error_Handler();
      }
      /* Both patterns last about 5 s: 5 slow cycles or 50 fast cycles. */
      uint32_t cycles = (event == BUTTON_LONG_PRESS) ? 50U : 5U;
      uint32_t halfPeriod = (event == BUTTON_LONG_PRESS) ? 50U : 500U;
      for (uint32_t cycle = 0; cycle < cycles; cycle++)
      {
        HAL_GPIO_WritePin(LED2_GPIO_Port, LED2_Pin, GPIO_PIN_SET);
        osDelay(halfPeriod);
        HAL_GPIO_WritePin(LED2_GPIO_Port, LED2_Pin, GPIO_PIN_RESET);
        osDelay(halfPeriod);
      }
      (void)osMutexRelease(ledMutexHandle);
    }
  }
  /* USER CODE END 5 */
}

void Error_Handler(void)
{
  __disable_irq();
  while (1)
  {
  }
}
